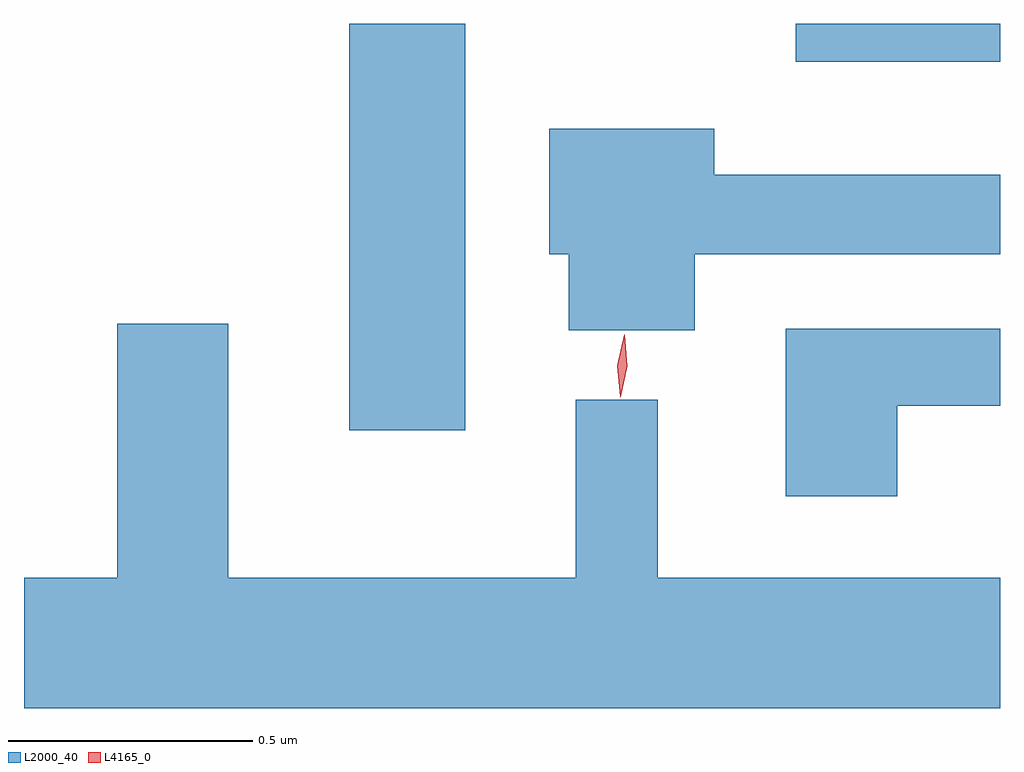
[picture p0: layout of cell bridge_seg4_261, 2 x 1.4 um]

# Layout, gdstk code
import gdstk
lib = gdstk.Library(unit=1e-6, precision=1e-09)
def R(c, l, rs):  # rectangles x0, y0, x1, y1
    for r in rs: c.add(gdstk.rectangle(r[:2], r[2:], *l))
def P(c, l, *ps):  # polygons
    for p in ps: c.add(gdstk.Polygon(p, *l))
L2000_40 = (2000, 40)
L4165_0 = (4165, 0)

bridge_seg4_261 = lib.new_cell('bridge_seg4_261')
R(bridge_seg4_261, L2000_40, [(671.836,1335.266,672.074,1336.099), (672.751,1336.021,673.17,1336.099)])
P(bridge_seg4_261, L2000_40, [(672.544,1335.626),(673.17,1335.626),(673.17,1335.789),(672.584,1335.789),(672.584,1335.884),(672.246,1335.884),(672.246,1335.626),(672.286,1335.626),(672.286,1335.471),(672.544,1335.471)],
  [(673.17,1334.964),(672.469,1334.964),(672.469,1335.328),(672.301,1335.328),(672.301,1334.964),(671.589,1334.964),(671.589,1335.484),(671.361,1335.484),(671.361,1334.964),(671.17,1334.964),(671.17,1334.696),(673.17,1334.696)],
  [(672.959,1335.316),(673.17,1335.316),(673.17,1335.474),(672.731,1335.474),(672.731,1335.131),(672.959,1335.131)])
P(bridge_seg4_261, L4165_0, [(672.392,1335.333),(672.392,1335.334),(672.386,1335.398),(672.4,1335.462),(672.4,1335.462),(672.401,1335.462),(672.406,1335.397),(672.393,1335.334)])

lib.write_gds('bridge_seg4_261.gds')
